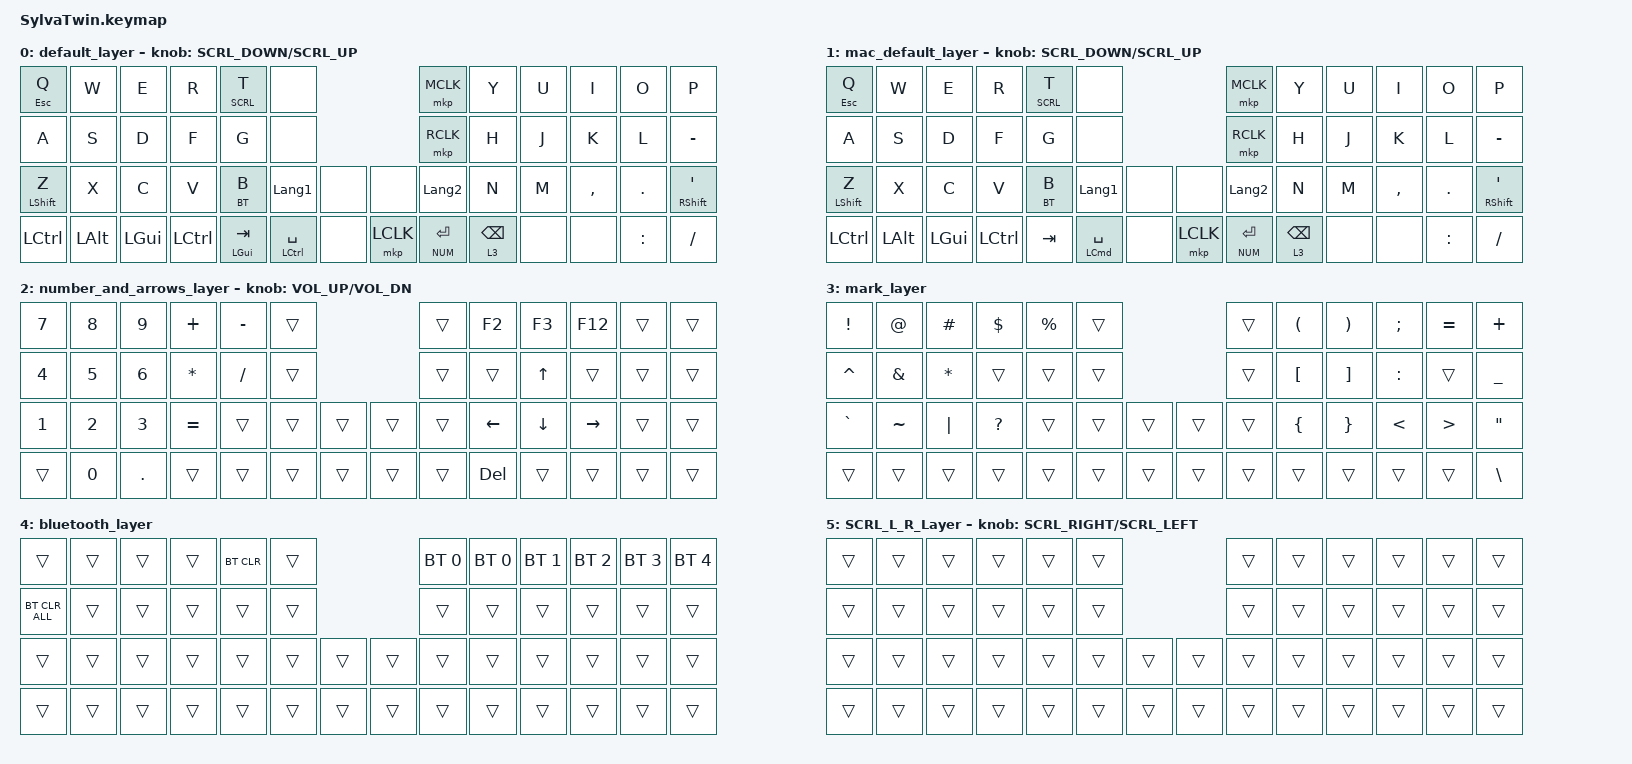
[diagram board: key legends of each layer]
/*
 * Copyright (c) 2020 The ZMK Contributors
 *
 * SPDX-License-Identifier: MIT
 */

#define ZMK_POINTING_DEFAULT_SCRL_VAL 200

#include <behaviors.dtsi>
#include <dt-bindings/zmk/bt.h>
#include <dt-bindings/zmk/keys.h>
#include <dt-bindings/zmk/pointing.h>

#define WIN 0
#define MAC 1
#define NUM 2
#define MARK 3
#define BT 4
#define SCRL 5

/ {
    combos {
        compatible = "zmk,combos";

        win_default {
            bindings = <&to WIN>;
            key-positions = <11 1>;
        };

        mac_default {
            bindings = <&to MAC>;
            key-positions = <11 34>;
        };

        desktop_left {
            bindings = <&kp LC(LG(LEFT_ARROW))>;
            key-positions = <0 1>;
        };

        desktop_right {
            bindings = <&kp LC(LG(RIGHT_ARROW))>;
            key-positions = <10 11>;
        };
    };

    behaviors {
        encoder_msc: sensor_rotate_msc {
            compatible = "zmk,behavior-sensor-rotate-var";
            #sensor-binding-cells = <2>;
            bindings = <&msc>, <&msc>;

            tap-ms = <20>;
        };
    };

    keymap {
        compatible = "zmk,keymap";

        default_layer {
            bindings = <
&mt ESCAPE Q      &kp W         &kp E         &kp R             &lt SCRL T        &none                                     &mkp MCLK       &kp Y            &kp U  &kp I      &kp O      &kp P
&kp A             &kp S         &kp D         &kp F             &kp G             &none                                     &mkp RCLK       &kp H            &kp J  &kp K      &kp L      &kp MINUS
&mt LEFT_SHIFT Z  &kp X         &kp C         &kp V             &lt BT B          &kp LANGUAGE_1          &none  &none      &kp LANGUAGE_2  &kp N            &kp M  &kp COMMA  &kp DOT    &mt RIGHT_SHIFT SINGLE_QUOTE
&kp LEFT_CONTROL  &kp LEFT_ALT  &kp LEFT_GUI  &kp LEFT_CONTROL  &mt LEFT_GUI TAB  &mt LEFT_CONTROL SPACE  &none  &mkp LCLK  &lt NUM ENTER   &lt 3 BACKSPACE  &none  &none      &kp COLON  &kp SLASH
            >;

            sensor-bindings = <&encoder_msc SCRL_DOWN SCRL_UP>;
        };

        mac_default_layer {
            bindings = <
&mt ESCAPE Q      &kp W         &kp E         &kp R             &lt SCRL T  &none                                     &mkp MCLK       &kp Y            &kp U  &kp I      &kp O      &kp P
&kp A             &kp S         &kp D         &kp F             &kp G       &none                                     &mkp RCLK       &kp H            &kp J  &kp K      &kp L      &kp MINUS
&mt LEFT_SHIFT Z  &kp X         &kp C         &kp V             &lt BT B    &kp LANGUAGE_1          &none  &none      &kp LANGUAGE_2  &kp N            &kp M  &kp COMMA  &kp DOT    &mt RIGHT_SHIFT SINGLE_QUOTE
&kp LEFT_CONTROL  &kp LEFT_ALT  &kp LEFT_GUI  &kp LEFT_CONTROL  &kp TAB     &mt LEFT_COMMAND SPACE  &none  &mkp LCLK  &lt NUM ENTER   &lt 3 BACKSPACE  &none  &none      &kp COLON  &kp SLASH
            >;

            sensor-bindings = <&encoder_msc SCRL_DOWN SCRL_UP>;
        };

        number_and_arrows_layer {
            bindings = <
&kp N7        &kp NUMBER_8  &kp N9        &kp PLUS      &kp MINUS  &trans                  &trans  &kp F2          &kp F3          &kp F12          &trans  &trans
&kp NUMBER_4  &kp NUMBER_5  &kp NUMBER_6  &kp ASTERISK  &kp SLASH  &trans                  &trans  &trans          &kp UP_ARROW    &trans           &trans  &trans
&kp NUMBER_1  &kp NUMBER_2  &kp NUMBER_3  &kp EQUAL     &trans     &trans  &trans  &trans  &trans  &kp LEFT_ARROW  &kp DOWN_ARROW  &kp RIGHT_ARROW  &trans  &trans
&trans        &kp NUMBER_0  &kp PERIOD    &trans        &trans     &trans  &trans  &trans  &trans  &kp DELETE      &trans          &trans           &trans  &trans
            >;

            sensor-bindings = <&inc_dec_kp C_VOL_UP C_VOL_DN>;
        };

        mark_layer {
            bindings = <
&kp EXCLAMATION  &kp AT_SIGN    &kp HASH      &kp DOLLAR    &kp PERCENT  &trans                  &trans  &kp LEFT_PARENTHESIS  &kp RIGHT_PARENTHESIS  &kp SEMICOLON  &kp EQUAL         &kp PLUS
&kp CARET        &kp AMPERSAND  &kp ASTERISK  &trans        &trans       &trans                  &trans  &kp LEFT_BRACKET      &kp RIGHT_BRACKET      &kp COLON      &trans            &kp UNDERSCORE
&kp GRAVE        &kp TILDE      &kp PIPE      &kp QUESTION  &trans       &trans  &trans  &trans  &trans  &kp LEFT_BRACE        &kp RIGHT_BRACE        &kp LESS_THAN  &kp GREATER_THAN  &kp DOUBLE_QUOTES
&trans           &trans         &trans        &trans        &trans       &trans  &trans  &trans  &trans  &trans                &trans                 &trans         &trans            &kp BACKSLASH
            >;
        };

        bluetooth_layer {
            bindings = <
&trans          &trans  &trans  &trans  &bt BT_CLR  &trans                  &bt BT_SEL 0  &bt BT_SEL 0  &bt BT_SEL 1  &bt BT_SEL 2  &bt BT_SEL 3  &bt BT_SEL 4
&bt BT_CLR_ALL  &trans  &trans  &trans  &trans      &trans                  &trans        &trans        &trans        &trans        &trans        &trans
&trans          &trans  &trans  &trans  &trans      &trans  &trans  &trans  &trans        &trans        &trans        &trans        &trans        &trans
&trans          &trans  &trans  &trans  &trans      &trans  &trans  &trans  &trans        &trans        &trans        &trans        &trans        &trans
            >;
        };

        SCRL_L_R_Layer {
            bindings = <
&trans  &trans  &trans  &trans  &trans  &trans                  &trans  &trans  &trans  &trans  &trans  &trans
&trans  &trans  &trans  &trans  &trans  &trans                  &trans  &trans  &trans  &trans  &trans  &trans
&trans  &trans  &trans  &trans  &trans  &trans  &trans  &trans  &trans  &trans  &trans  &trans  &trans  &trans
&trans  &trans  &trans  &trans  &trans  &trans  &trans  &trans  &trans  &trans  &trans  &trans  &trans  &trans
            >;

            sensor-bindings = <&encoder_msc SCRL_RIGHT SCRL_LEFT>;
        };
    };
};
